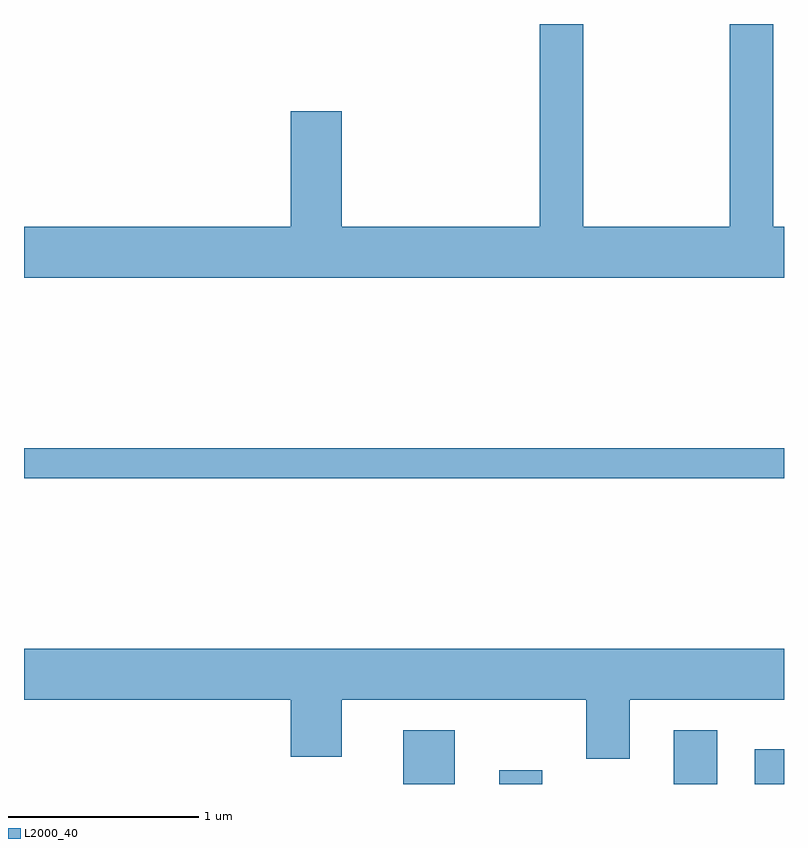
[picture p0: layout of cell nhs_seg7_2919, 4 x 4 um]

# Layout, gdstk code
import gdstk
lib = gdstk.Library(unit=1e-6, precision=1e-09)
def R(c, l, rs):  # rectangles x0, y0, x1, y1
    for r in rs: c.add(gdstk.rectangle(r[:2], r[2:], *l))
def P(c, l, *ps):  # polygons
    for p in ps: c.add(gdstk.Polygon(p, *l))
L2000_40 = (2000, 40)

nhs_seg7_2919 = lib.new_cell('nhs_seg7_2919')
R(nhs_seg7_2919, L2000_40, [(275.606,1778.252,275.879,1778.534), (276.111,1778.252,276.339,1778.324), (277.031,1778.252,277.259,1778.534), (277.456,1778.252,277.611,1778.434), (273.611,1779.861,277.611,1780.019)])
P(nhs_seg7_2919, L2000_40, [(277.611,1781.184),(277.554,1781.184),(277.554,1782.252),(277.326,1782.252),(277.326,1781.184),(276.554,1781.184),(276.554,1782.252),(276.326,1782.252),(276.326,1781.184),(275.284,1781.184),(275.284,1781.794),(275.016,1781.794),(275.016,1781.184),(273.611,1781.184),(273.611,1780.916),(277.611,1780.916)],
  [(276.799,1778.696),(277.611,1778.696),(277.611,1778.964),(273.611,1778.964),(273.611,1778.696),(275.016,1778.696),(275.016,1778.396),(275.284,1778.396),(275.284,1778.696),(276.571,1778.696),(276.571,1778.386),(276.799,1778.386)])

lib.write_gds('nhs_seg7_2919.gds')
